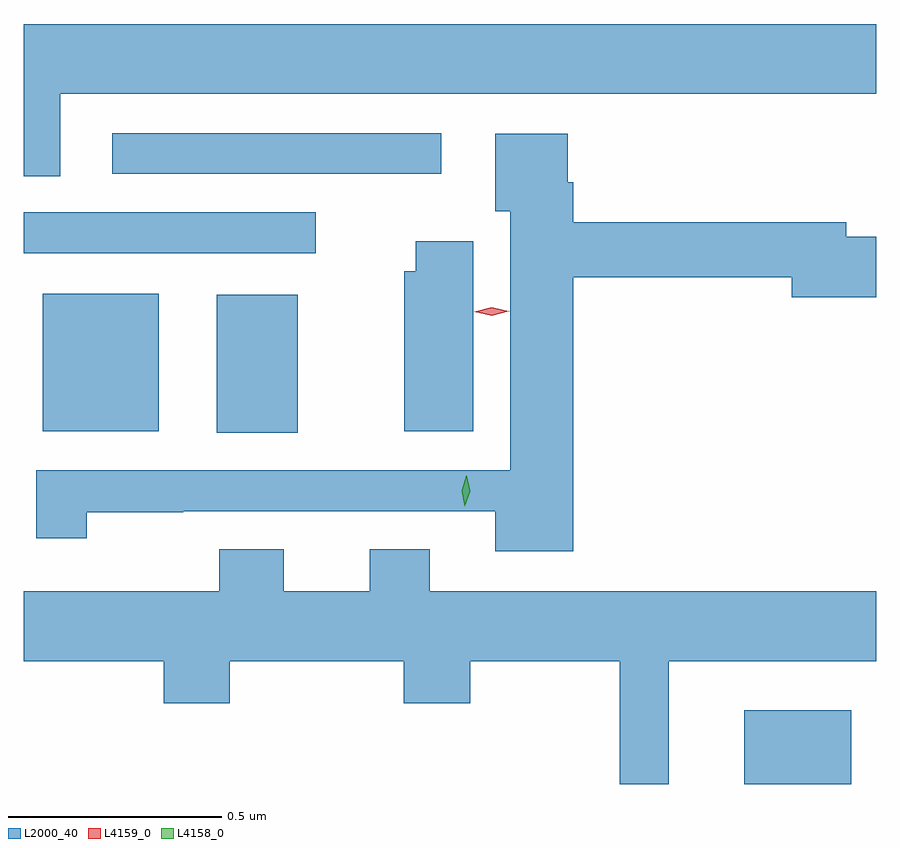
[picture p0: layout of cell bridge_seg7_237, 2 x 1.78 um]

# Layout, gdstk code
import gdstk
lib = gdstk.Library(unit=1e-6, precision=1e-09)
def R(c, l, rs):  # rectangles x0, y0, x1, y1
    for r in rs: c.add(gdstk.rectangle(r[:2], r[2:], *l))
def P(c, l, *ps):  # polygons
    for p in ps: c.add(gdstk.Polygon(p, *l))
L2000_40 = (2000, 40)
L4158_0 = (4158, 0)
L4159_0 = (4159, 0)

bridge_seg7_237 = lib.new_cell('bridge_seg7_237')
R(bridge_seg7_237, L2000_40, [(360.593,1036.292,360.844,1036.465), (359.354,1037.117,359.545,1037.44), (358.946,1037.12,359.218,1037.443), (358.902,1037.538,359.587,1037.634), (359.109,1037.724,359.881,1037.82)])
P(bridge_seg7_237, L2000_40, [(358.987,1037.912),(360.902,1037.912),(360.902,1038.076),(358.902,1038.076),(358.902,1037.719),(358.987,1037.719)],
  [(360.191,1037.482),(360.704,1037.482),(360.704,1037.435),(360.902,1037.435),(360.902,1037.577),(360.832,1037.577),(360.832,1037.611),(360.191,1037.611),(360.191,1037.705),(360.178,1037.705),(360.178,1037.818),(360.008,1037.818),(360.008,1037.636),(360.044,1037.636),(360.044,1037.028),(358.931,1037.028),(358.931,1036.869),(359.049,1036.869),(359.049,1036.93),(359.276,1036.93),(359.276,1036.932),(360.008,1036.932),(360.008,1036.838),(360.191,1036.838)],
  [(359.956,1037.566),(359.822,1037.566),(359.822,1037.496),(359.795,1037.496),(359.795,1037.12),(359.956,1037.12)],
  [(360.415,1036.58),(360.902,1036.58),(360.902,1036.744),(359.854,1036.744),(359.854,1036.843),(359.714,1036.843),(359.714,1036.744),(359.512,1036.744),(359.512,1036.843),(359.36,1036.843),(359.36,1036.744),(358.902,1036.744),(358.902,1036.58),(359.23,1036.58),(359.23,1036.481),(359.385,1036.481),(359.385,1036.58),(359.794,1036.58),(359.794,1036.481),(359.949,1036.481),(359.949,1036.58),(360.301,1036.58),(360.301,1036.292),(360.415,1036.292)])
P(bridge_seg7_237, L4158_0, [(359.937,1036.944),(359.937,1036.944),(359.929,1036.98),(359.94,1037.016),(359.941,1037.016),(359.941,1037.016),(359.949,1036.979),(359.937,1036.944)])
P(bridge_seg7_237, L4159_0, [(360,1037.391),(359.959,1037.4),(359.959,1037.4),(359.959,1037.401),(360,1037.411),(360.04,1037.402),(360.041,1037.402),(360.04,1037.402)])

lib.write_gds('bridge_seg7_237.gds')
